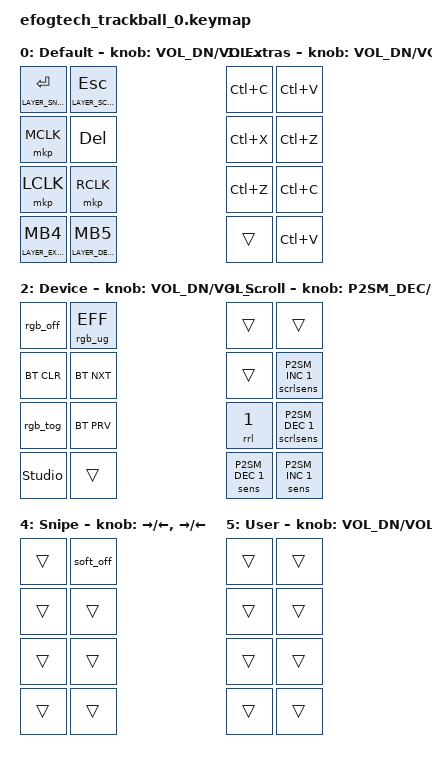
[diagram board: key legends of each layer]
 #include <behaviors.dtsi>
#include <dt-bindings/zmk/bt.h>
#include <dt-bindings/zmk/keys.h>
#include <dt-bindings/zmk/pointing.h>
#include <dt-bindings/zmk/outputs.h>
#include <dt-bindings/zmk/p2sm.h>
#include <dt-bindings/zmk/rgb.h>
#include <dt-bindings/zmk/ext_power.h>
#include <behaviors/p2sm_behaviors.dtsi>
#include <behaviors/rate_limit.dtsi>
#include <behaviors/auto_hold.dtsi>

#define LAYER_DEFAULT 0
#define LAYER_EXTRAS 1
#define LAYER_DEVICE 2
#define LAYER_SCROLL 3
#define LAYER_SNIPE 4
#define LAYER_USER 5

#define SCROLL_MULTIPLIER 1
#define SCROLL_DIVISOR 3

#define SNIPE_MULTIPLIER 1
#define SNIPE_DIVISOR 4

/ {
	keymap {
		compatible = "zmk,keymap";

		default_layer {
			display-name = "Default";
			sensor-bindings = <&inc_dec_kp C_VOL_DN C_VOL_UP &inc_dec_kp LC(TAB) LC(LS(TAB))>;
			bindings = <
				&ltmkp LAYER_SNIPE ENTER  &ltmkp LAYER_SCROLL ESC
				&mkp MCLK                 &kp DELETE
				&mkp LCLK                 &mkp RCLK
				&ltm LAYER_EXTRAS MB4     &ltm LAYER_DEVICE MB5
			>;
		};

		layer2 {
			display-name = "Extras";
			sensor-bindings = <&inc_dec_kp C_VOL_DN C_VOL_UP &inc_dec_kp LC(TAB) LC(LS(TAB))>;
			bindings = <
				&kp LC(C)   &kp LC(V)
				&kp LC(X)   &kp LC(Z)
				&kp LC(Z)   &kp LC(C)
				&trans      &kp LC(V)
			>;
		};

		layer3 {
			display-name = "Device";
			sensor-bindings = <&inc_dec_kp C_VOL_DN C_VOL_UP &inc_dec_kp LC(TAB) LC(LS(TAB))>;
			bindings = <
				&rgb_off           &rgb_ug RGB_EFF
				&bt BT_CLR         &bt BT_NXT
				&rgb_tog           &bt BT_PRV
				&studio_unlock     &trans
			>;
		};

		layer4 {
			display-name = "Scroll";
			sensor-bindings = <&rotenc_sens P2SM_DEC P2SM_INC &rotenc_scrlsens P2SM_INC P2SM_DEC>;
			bindings = <
			    &trans              &trans
			    &trans              &scrlsens P2SM_INC 1
			    &rrl 1              &scrlsens P2SM_DEC 1
			    &sens P2SM_DEC 1    &sens P2SM_INC 1
			>;
		};

		layer5 {
			display-name = "Snipe";
			sensor-bindings = <&inc_dec_kp RIGHT LEFT &inc_dec_kp RIGHT LEFT>;
			bindings = <
				&trans           &soft_off
				&trans           &trans
				&trans           &trans
				&trans           &trans
			>;
		};

		layer6 {
			display-name = "User";
			sensor-bindings = <&inc_dec_kp C_VOL_DN C_VOL_UP &inc_dec_kp LC(TAB) LC(LS(TAB))>;
			bindings = <
				&trans        &trans
				&trans        &trans
				&trans        &trans
				&trans        &trans
		    >;
		};
	};

	trackball {
        default {
            layers = <LAYER_DEFAULT>;
            input-processors = <&zip_scroll_scaler 0 1>;
        };
		scroll {
			layers = <LAYER_SCROLL>;
			input-processors = <&zip_xy_scaler SCROLL_MULTIPLIER SCROLL_DIVISOR>, <&zip_axis_clamper>,
							   <&zip_xy_to_scroll_mapper>, <&zip_scroll_transform INPUT_TRANSFORM_Y_INVERT>;
		};

		snipe {
			layers = <LAYER_SNIPE>;
			input-processors = <&zip_xy_scaler SNIPE_MULTIPLIER SNIPE_DIVISOR>;
		};
	};

	macros {
		rgb_tog: rgb_tog {
			compatible = "zmk,behavior-macro";
			#binding-cells = <0>;
			wait-ms = <20>;
			bindings
			= <&rgb_ug RGB_TOG>
			, <&ext_power EP_TOG>
			;
		};

		rgb_off: rgb_off {
			compatible = "zmk,behavior-macro";
			#binding-cells = <0>;
			wait-ms = <20>;
			bindings
			= <&ext_power EP_OFF>
			, <&rgb_ug RGB_OFF>
			;
		};
	};

	behaviors {
		rrl {
			values-ms = <8 6 4 2>;
			feedback-duration = <65>;
		};

		ltm: layer-tap-momentary {
			compatible = "zmk,behavior-hold-tap";
			display-name = "Hold/tap (layer/mouse key)";
			#binding-cells = <2>;
			flavor = "tap-preferred";
			tapping-term-ms = <250>;
			hold-while-undecided;
			bindings = <&mo>, <&mkp>;
		};

		ltmkp: layer-tap-momentary-key-press {
			compatible = "zmk,behavior-hold-tap";
			display-name = "Hold/tap (layer/keyboard key)";
			#binding-cells = <2>;
			flavor = "tap-preferred";
			tapping-term-ms = <250>;
			hold-while-undecided;
			bindings = <&mo>, <&kp>;
		};

		sens: p2sm_sensitivity {
			feedback-duration = <65>;
			step = <50>;
			max-step = <8>;
		};

		scrlsens: p2sm_scroll_sensitivity {
			feedback-duration = <65>;
			step = <10>;
			min-step = <2>;
			max-step = <12>;
		};

		scrlsenstog: p2sm_sens_toggle {
			display-name = "Scroll sensitivity (toggle 3%/6%)";
			feedback-duration = <65>;
			step = <30>;
			min-step = <1>;
			max-step = <2>;
			scroll;
		};

		sens_nowrap: sens_nowrap {
			compatible = "zmk,behavior-p2sm-sens";
			#binding-cells = <2>;
			feedback-duration = <65>;
			feedback-gpios = <&gpio0 24 GPIO_ACTIVE_HIGH>;
			feedback-extra-gpios = <&gpio1 0 GPIO_ACTIVE_HIGH>;
			step = <50>;
			min-step = <1>;
			max-step = <8>;
		};

		scrlsens_nowrap: scrlsens_nowrap {
			compatible = "zmk,behavior-p2sm-sens";
			#binding-cells = <2>;
			feedback-duration = <65>;
			feedback-gpios = <&gpio0 24 GPIO_ACTIVE_HIGH>;
			feedback-extra-gpios = <&gpio1 0 GPIO_ACTIVE_HIGH>;
			step = <10>;
			min-step = <2>;
			max-step = <12>;
			scroll;
		};

		rotenc_sens: rotenc_sens {
			compatible = "zmk,behavior-sensor-rotate-var";
			#sensor-binding-cells = <2>;
			bindings = <&sens_nowrap>, <&sens_nowrap>;
		};

		rotenc_scrlsens: rotenc_scrlsens {
			compatible = "zmk,behavior-sensor-rotate-var";
			#sensor-binding-cells = <2>;
			bindings = <&scrlsens_nowrap>, <&scrlsens_nowrap>;
		};
	};
};

&zip_2s_mixer {
	twist-interference-thres = <15>;
	twist-thres = <25>;
};
